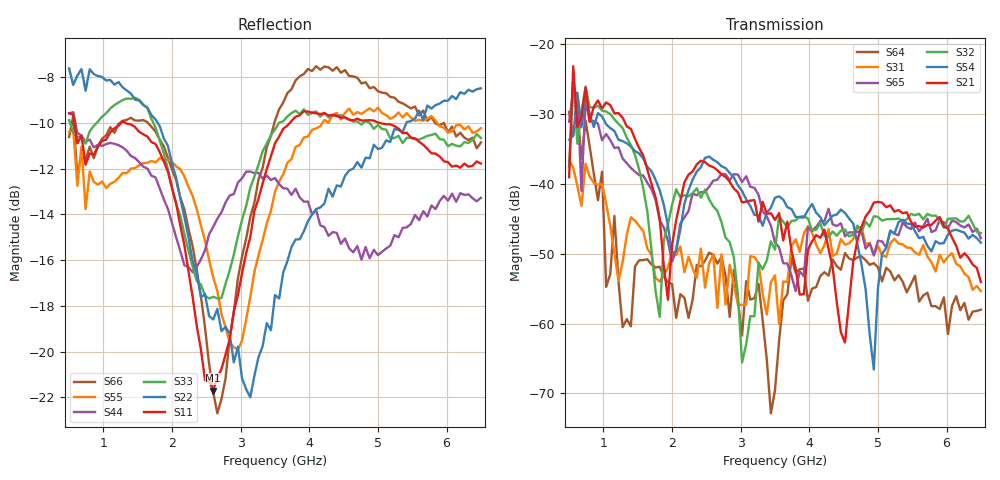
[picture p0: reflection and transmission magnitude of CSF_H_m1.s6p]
!Keysight Technologies,M9804A,MY58100912,A.14.10.03
!Date: Thursday, April 27, 2023 10:28:33
!Correction: S11(C  6-Port  )
!S12(C  6-Port  )
!S13(C  6-Port  )
!S14(C  6-Port  )
!S15(C  6-Port  )
!S16(C  6-Port  )
!S21(C  6-Port  )
!S22(C  6-Port  )
!S23(C  6-Port  )
!S24(C  6-Port  )
!S25(C  6-Port  )
!S26(C  6-Port  )
!S31(C  6-Port  )
!S32(C  6-Port  )
!S33(C  6-Port  )
!S34(C  6-Port  )
!S35(C  6-Port  )
!S36(C  6-Port  )
!S41(C  6-Port  )
!S42(C  6-Port  )
!S43(C  6-Port  )
!S44(C  6-Port  )
!S45(C  6-Port  )
!S46(C  6-Port  )
!S51(C  6-Port  )
!S52(C  6-Port  )
!S53(C  6-Port  )
!S54(C  6-Port  )
!S55(C  6-Port  )
!S56(C  6-Port  )
!S61(C  6-Port  )
!S62(C  6-Port  )
!S63(C  6-Port  )
!S64(C  6-Port  )
!S65(C  6-Port  )
!S66(C  6-Port  )
!S6P File: Measurement: :
# Hz S  RI  R 50
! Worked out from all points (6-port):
!   101 points, 500 MHz to 6.5 GHz, reference 50 ohm
!   strongest paths, dB at 500 MHz, 2 GHz, 3.5 GHz, 5 GHz, 6.5 GHz:
!     S21: -39.1, -48.8, -45.2, -42.6, -54.1
!     S54: -33.7, -50.2, -42.0, -55.0, -48.4
!     S32: -37.5, -43.0, -49.4, -44.7, -47.1
!     S65: -31.1, -51.2, -48.4, -48.2, -47.8
!     S31: -36.7, -49.7, -53.1, -48.9, -55.4
!     S64: -29.7, -54.4, -69.5, -52.0, -58.0
!   lowest |S11| = -21.7 dB at 2.6 GHz (marker M1), VSWR 1.18, Z = 42.7 + j2.03 ohm
!   |S11| at or under -10 dB: 577.4 MHz to 1.257 GHz (679.9 MHz wide, 74.1 % of centre); 1.321 GHz to 3.716 GHz (2.395 GHz wide, 95.1 % of centre); 5.02 GHz to end of sweep
